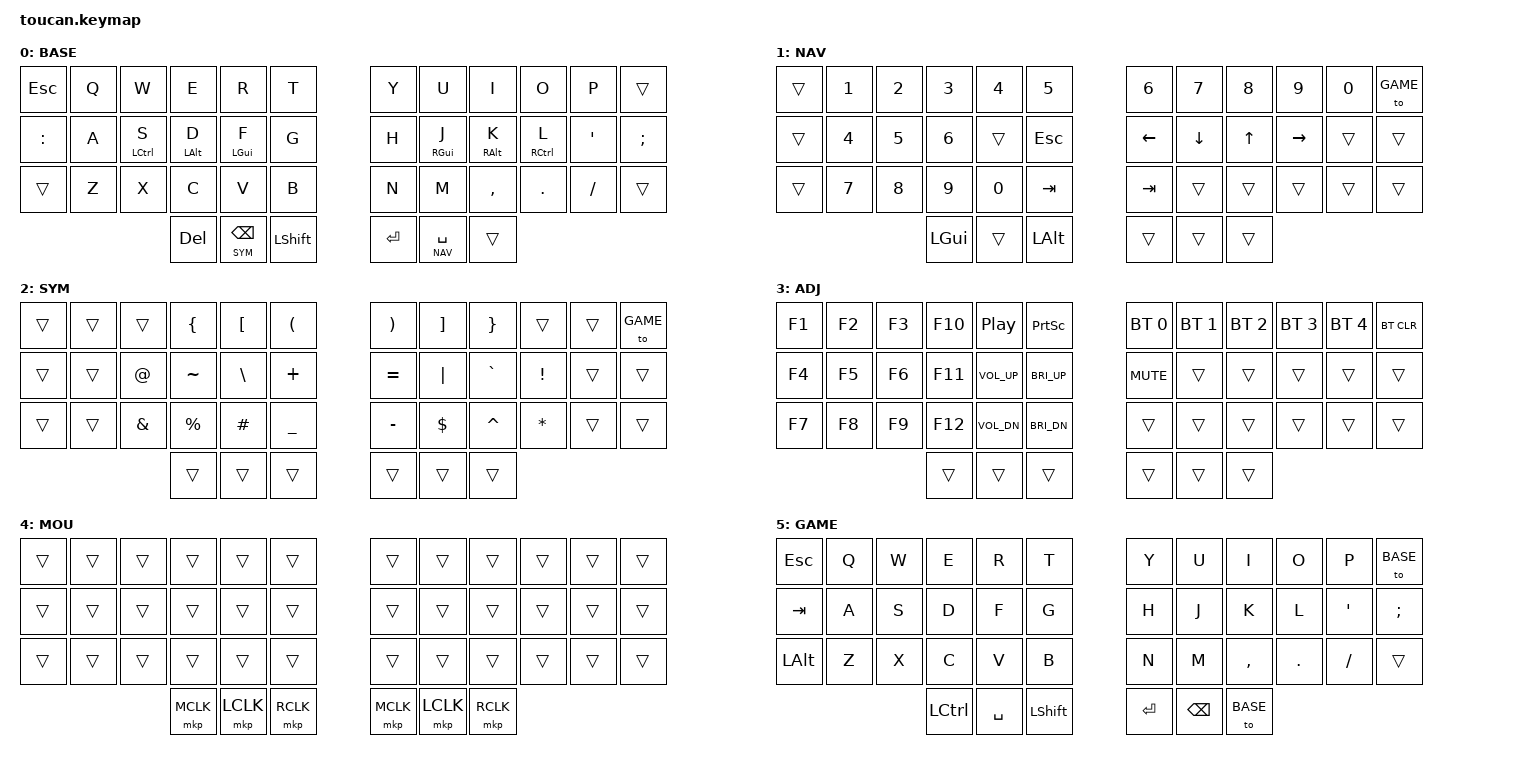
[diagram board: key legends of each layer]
#include <behaviors.dtsi>
#include <dt-bindings/zmk/keys.h>
#include <dt-bindings/zmk/bt.h>
#include <dt-bindings/zmk/outputs.h>
#include <dt-bindings/zmk/pointing.h>

#define BASE 0
#define NAV  1
#define SYM  2
#define ADJ  3
#define MOU  4
#define GAME  5

// Home row mod positional guards (bilateral combinations only)
// Left-hand mods only trigger with right-hand keys + left thumbs
#define LEFT_HRM_TRIGGERS  6 7 8 9 10 11 18 19 20 21 22 23 30 31 32 33 34 35 36 37 38
// Right-hand mods only trigger with left-hand keys + right thumbs
#define RIGHT_HRM_TRIGGERS 0 1 2 3 4 5 12 13 14 15 16 17 24 25 26 27 28 29 39 40 41

/ {
    behaviors {
        hml: home_row_mod_left {
            compatible = "zmk,behavior-hold-tap";
            #binding-cells = <2>;
            flavor = "balanced";
            tapping-term-ms = <250>;
            quick-tap-ms = <175>;
            require-prior-idle-ms = <150>;
            bindings = <&kp>, <&kp>;
            hold-trigger-key-positions = <LEFT_HRM_TRIGGERS>;
            hold-trigger-on-release;
            display-name = "Home Row Mod Left";
        };

        hmr: home_row_mod_right {
            compatible = "zmk,behavior-hold-tap";
            #binding-cells = <2>;
            flavor = "balanced";
            tapping-term-ms = <250>;
            quick-tap-ms = <175>;
            require-prior-idle-ms = <150>;
            bindings = <&kp>, <&kp>;
            hold-trigger-key-positions = <RIGHT_HRM_TRIGGERS>;
            hold-trigger-on-release;
            display-name = "Home Row Mod Right";
        };
    };

    conditional_layers {
        compatible = "zmk,conditional-layers";
        tri_layer {
            if-layers = <1 2>;
            then-layer = <3>;
        };
    };

    keymap {
        compatible = "zmk,keymap";

        base {
            display-name = "BASE";
            bindings = <
                &kp ESC   &kp Q &kp W          &kp E          &kp R           &kp T   &kp Y &kp U           &kp I           &kp O           &kp P    &trans
                &kp COLON &kp A &hml LCTRL S   &hml LALT D    &hml LGUI F     &kp G   &kp H &hmr RGUI J     &hmr RALT K     &hmr RCTRL L    &kp SQT  &kp SEMI
                &trans    &kp Z &kp X          &kp C          &kp V           &kp B   &kp N &kp M           &kp COMMA       &kp DOT         &kp FSLH &trans
                                &kp DEL        &lt SYM BSPC   &kp LSHFT       &kp RET &lt NAV SPACE  &trans
            >;
        };

        nav {
            display-name = "NAV";
            bindings = <
                &trans &kp N1 &kp N2 &kp N3 &kp N4  &kp N5    &kp N6   &kp N7   &kp N8 &kp N9    &kp N0 &to GAME
                &trans &kp N4 &kp N5 &kp N6 &trans  &kp ESC   &kp LEFT &kp DOWN &kp UP &kp RIGHT &trans &trans
                &trans &kp N7 &kp N8 &kp N9 &kp N0  &kp TAB   &kp TAB  &trans   &trans &trans    &trans &trans
                                 &kp LGUI  &trans  &kp LALT   &trans   &trans   &trans
            >;
        };

        sym {
            display-name = "SYM";
            bindings = <
                &trans &trans   &trans   &kp LBRC &kp LBKT &kp LPAR   &kp RPAR &kp RBKT &kp RBRC &trans   &trans   &to GAME
                &trans &trans &kp AT  &kp TILDE &kp BSLH &kp PLUS  &kp EQUAL &kp PIPE &kp GRAVE &kp EXCL &trans &trans
                &trans &trans   &kp AMPS &kp PRCNT &kp HASH &kp UNDER &kp MINUS &kp DLLR &kp CARET &kp ASTRK &trans  &trans
                                          &trans  &trans &trans   &trans  &trans   &trans
            >;
        };

        adj {
            display-name = "ADJ";
            bindings = <
                &kp F1 &kp F2 &kp F3 &kp F10 &kp C_PP      &kp PSCRN    &bt BT_SEL 0 &bt BT_SEL 1 &bt BT_SEL 2 &bt BT_SEL 3 &bt BT_SEL 4 &bt BT_CLR
                &kp F4 &kp F5 &kp F6 &kp F11 &kp C_VOL_UP  &kp C_BRI_UP &kp C_MUTE   &trans       &trans       &trans       &trans       &trans
                &kp F7 &kp F8 &kp F9 &kp F12 &kp C_VOL_DN  &kp C_BRI_DN &trans       &trans       &trans       &trans       &trans       &trans
                              &trans &trans &trans   &trans &trans &trans
            >;
        };

        mouse {
            display-name = "MOU";
            bindings = <
                &trans &trans &trans &trans &trans &trans           &trans &trans &trans &trans &trans &trans
                &trans &trans &trans &trans &trans &trans           &trans &trans &trans &trans &trans &trans
                &trans &trans &trans &trans &trans &trans           &trans &trans &trans &trans &trans &trans
                            &mkp MCLK &mkp LCLK &mkp RCLK           &mkp MCLK &mkp LCLK &mkp RCLK
            >;
        };

        game {
            display-name = "GAME";
            bindings = <
                &kp ESC   &kp Q &kp W          &kp E          &kp R           &kp T   &kp Y &kp U           &kp I           &kp O           &kp P    &to BASE
                &kp TAB   &kp A &kp S          &kp D          &kp F           &kp G   &kp H &kp J           &kp K           &kp L           &kp SQT  &kp SEMI
                &kp LALT  &kp Z &kp X          &kp C          &kp V           &kp B   &kp N &kp M           &kp COMMA       &kp DOT         &kp FSLH &trans
                                &kp LCTRL      &kp SPACE      &kp LSHFT       &kp RET &kp BSPC  &to BASE
            >;
        };

        extra_3 {
                status = "reserved";
        };
    };
};
